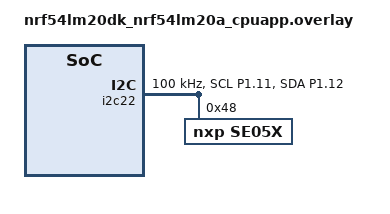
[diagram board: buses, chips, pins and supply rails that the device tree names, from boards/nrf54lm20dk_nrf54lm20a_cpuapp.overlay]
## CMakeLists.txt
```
cmake_minimum_required(VERSION 3.20.0)

find_package(Zephyr REQUIRED HINTS $ENV{ZEPHYR_BASE})
project(nrf54lm20_se05x)

set(NXP_DIR "${CMAKE_CURRENT_LIST_DIR}/nxp_se05x/nxp/plug-and-trust")

add_library(se05x_bus STATIC
    se05x_bus/src/se05x_bus.c
    se05x_bus/src/se05x_bus_zephyr_i2c.c
)
add_dependencies(se05x_bus zephyr_generated_headers)

target_include_directories(se05x_bus PUBLIC
    se05x_bus/include
)

target_link_libraries(se05x_bus PUBLIC zephyr_interface)

add_library(nxp_se05x STATIC
    "${NXP_DIR}/sss/ex/src/ex_sss_boot.c"
    "${NXP_DIR}/sss/ex/src/ex_sss_boot_connectstring.c"
    "${NXP_DIR}/sss/ex/src/ex_sss_se05x.c"
    "${NXP_DIR}/sss/ex/src/ex_sss_se05x_auth.c"
    "${NXP_DIR}/sss/src/fsl_sss_apis.c"
    "${NXP_DIR}/sss/src/fsl_sss_util_asn1_der.c"
    "${NXP_DIR}/sss/src/fsl_sss_util_rsa_sign_utils.c"
    "${NXP_DIR}/sss/src/keystore/keystore_cmn.c"
    "${NXP_DIR}/sss/src/keystore/keystore_pc.c"
    "${NXP_DIR}/sss/src/se05x/fsl_sss_se05x_apis.c"
    "${NXP_DIR}/sss/src/se05x/fsl_sss_se05x_eckey.c"
    "${NXP_DIR}/sss/src/se05x/fsl_sss_se05x_mw.c"
    "${NXP_DIR}/sss/src/se05x/fsl_sss_se05x_policy.c"
    "${NXP_DIR}/sss/src/se05x/fsl_sss_se05x_scp03.c"
    "${NXP_DIR}/hostlib/hostLib/libCommon/infra/global_platf.c"
    "${NXP_DIR}/hostlib/hostLib/libCommon/infra/sm_apdu.c"
    "${NXP_DIR}/hostlib/hostLib/libCommon/infra/sm_connect.c"
    "${NXP_DIR}/hostlib/hostLib/libCommon/infra/sm_errors.c"
    "${NXP_DIR}/hostlib/hostLib/libCommon/infra/sm_printf.c"
    "${NXP_DIR}/hostlib/hostLib/libCommon/log/nxLog.c"
    "${NXP_DIR}/hostlib/hostLib/libCommon/nxScp/nxScp03_Com.c"
    "${NXP_DIR}/hostlib/hostLib/libCommon/smCom/smCom.c"
    "${NXP_DIR}/hostlib/hostLib/libCommon/smCom/smComT1oI2C.c"
    "${NXP_DIR}/hostlib/hostLib/libCommon/smCom/T1oI2C/phNxpEse_Api.c"
    "${NXP_DIR}/hostlib/hostLib/libCommon/smCom/T1oI2C/phNxpEseProto7816_3.c"
    "${NXP_DIR}/hostlib/hostLib/libCommon/smCom/T1oI2C/phNxpEsePal_i2c.c"
    "${NXP_DIR}/hostlib/hostLib/se05x/src/se05x_ECC_curves.c"
    "${NXP_DIR}/hostlib/hostLib/se05x/src/se05x_mw.c"
    "${NXP_DIR}/hostlib/hostLib/se05x/src/se05x_tlv.c"
    "${NXP_DIR}/hostlib/hostLib/se05x_03_xx_xx/se05x_APDU.c"
    "${NXP_DIR}/hostlib/hostLib/se05x_03_xx_xx/se05x_perso_api.c"
    nxp_se05x/port/i2c_a7_zephyr_bus.c
    nxp_se05x/port/sm_timer_zephyr.c
    nxp_se05x/port/ax_reset_zephyr.c
    nxp_se05x/port/sss_user_zephyr_crypto.c
    nxp_se05x/port/freertos_zephyr_shim.c
)
add_dependencies(nxp_se05x zephyr_generated_headers)

target_include_directories(nxp_se05x PUBLIC
    nxp_se05x/include
    nxp_se05x/port/include
    "${NXP_DIR}"
    "${NXP_DIR}/sss/inc"
    "${NXP_DIR}/sss/ex/inc"
    "${NXP_DIR}/sss/ex/src"
    "${NXP_DIR}/sss/port/default"
    "${NXP_DIR}/hostlib/hostLib/inc"
    "${NXP_DIR}/hostlib/hostLib/libCommon/infra"
    "${NXP_DIR}/hostlib/hostLib/libCommon/log"
    "${NXP_DIR}/hostlib/hostLib/libCommon/smCom"
    "${NXP_DIR}/hostlib/hostLib/libCommon/smCom/T1oI2C"
    "${NXP_DIR}/hostlib/hostLib/platform/inc"
    "${NXP_DIR}/hostlib/hostLib/se05x_03_xx_xx"
)

target_compile_definitions(nxp_se05x PUBLIC
    SSS_USE_FTR_FILE
    SMCOM_T1oI2C
    T1oI2C
    T1oI2C_UM11225
    T1OI2C_RETRY_ON_I2C_FAILED
    USE_RTOS=1
    AX_EMBEDDED=1
)

target_compile_options(nxp_se05x PRIVATE
    -Wno-unused-parameter
    -Wno-sign-compare
    -Wno-missing-field-initializers
    -Wno-format
    -Wno-incompatible-pointer-types
    -Wno-unused-variable
    -Wno-unused-function
    -Wno-unused-value
)

target_link_libraries(nxp_se05x PUBLIC se05x_bus zephyr_interface)

target_sources(app PRIVATE
    src/main.c
    demo/se05x_demo.c
    demo/se05x_demo_00_uart_safe_api.c
    demo/se05x_demo_01_safe_read_only.c
    demo/se05x_demo_02_identity_random.c
    demo/se05x_demo_03_inventory.c
    demo/se05x_demo_04_business_onboarding.c
    demo/se05x_demo_05_provisioning_check.c
    demo/se05x_demo_06_ecc_sign_verify.c
    demo/se05x_demo_07_certificate_store.c
    demo/se05x_demo_08_tls_client_identity.c
    demo/se05x_demo_09_wallet_curve_check.c
    demo/se05x_demo_10_eth_wallet_sign.c
    demo/se05x_demo_11_eth_testnet_wallet.c
)

target_include_directories(app PRIVATE demo)
target_link_libraries(app PRIVATE nxp_se05x se05x_bus)
```

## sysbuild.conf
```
# Keep this sample as a single-image application; no OTA/MCUboot partitions.
SB_CONFIG_PARTITION_MANAGER=n
```

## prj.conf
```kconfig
# Minimal Zephyr/NCS app services
CONFIG_SERIAL=y
CONFIG_CONSOLE=y
CONFIG_UART_CONSOLE=y
CONFIG_CONSOLE_SUBSYS=y
CONFIG_CONSOLE_GETCHAR=y
CONFIG_LOG=y
CONFIG_LOG_MODE_IMMEDIATE=y
CONFIG_LOG_DEFAULT_LEVEL=3

# Debug-friendly build for source breakpoints during board bring-up.
CONFIG_DEBUG=y
CONFIG_DEBUG_OPTIMIZATIONS=y

# SE05x transport
CONFIG_I2C=y
CONFIG_GPIO=y

# NXP middleware uses malloc for connection, mutex, and transient crypto state.
CONFIG_NEWLIB_LIBC=y
CONFIG_NEWLIB_LIBC_NANO=y
CONFIG_HEAP_MEM_POOL_SIZE=65536
CONFIG_MAIN_STACK_SIZE=24576
CONFIG_SYSTEM_WORKQUEUE_STACK_SIZE=4096

# PSA crypto backend required by HOSTCRYPTO_USER for SCP03.
CONFIG_NRF_SECURITY=y
CONFIG_MBEDTLS_PSA_CRYPTO_C=y
CONFIG_MBEDTLS_ENABLE_HEAP=y
CONFIG_MBEDTLS_HEAP_SIZE=65536
CONFIG_PSA_WANT_KEY_TYPE_AES=y
CONFIG_PSA_WANT_ALG_CBC_NO_PADDING=y
CONFIG_PSA_WANT_ALG_ECB_NO_PADDING=y
CONFIG_PSA_WANT_ALG_CTR=y
CONFIG_PSA_WANT_ALG_CMAC=y
CONFIG_PSA_WANT_GENERATE_RANDOM=y
CONFIG_PSA_WANT_ALG_CTR_DRBG=y
CONFIG_PSA_WANT_ALG_SHA_1=y
CONFIG_PSA_WANT_ALG_SHA_224=y
CONFIG_PSA_WANT_ALG_SHA_256=y
CONFIG_PSA_WANT_ALG_SHA_384=y
CONFIG_PSA_WANT_ALG_SHA_512=y

# Enable locally during board bring-up if you want Zephyr runtime assertions.
CONFIG_ASSERT=n
```

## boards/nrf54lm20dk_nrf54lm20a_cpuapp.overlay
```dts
#include <zephyr/dt-bindings/i2c/i2c.h>

/ {
	aliases {
		se05x = &se05x;
	};
};

&pinctrl {
	i2c22_default: i2c22_default {
		group1 {
			psels = <NRF_PSEL(TWIM_SCL, 1, 11)>,
				<NRF_PSEL(TWIM_SDA, 1, 12)>;
			bias-pull-up;
		};
	};

	i2c22_sleep: i2c22_sleep {
		group1 {
			psels = <NRF_PSEL(TWIM_SCL, 1, 11)>,
				<NRF_PSEL(TWIM_SDA, 1, 12)>;
			low-power-enable;
		};
	};
};

&i2c22 {
	status = "okay";
	clock-frequency = <I2C_BITRATE_STANDARD>;
	zephyr,concat-buf-size = <512>;
	pinctrl-0 = <&i2c22_default>;
	pinctrl-1 = <&i2c22_sleep>;
	pinctrl-names = "default", "sleep";

	se05x: se05x@48 {
		compatible = "nxp,se05x";
		status = "okay";
		reg = <0x48>;
	};
};
```

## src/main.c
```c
#include <errno.h>
#include <string.h>

#include <zephyr/kernel.h>
#include <zephyr/logging/log.h>

#include "ex_sss_boot.h"
#include "se05x_bus.h"
#include "se05x_bus_zephyr.h"
#include "se05x_demo.h"

LOG_MODULE_REGISTER(nrf54lm20_se05x, LOG_LEVEL_INF);

/*
 * Demo 选择入口。
 *
 * main.c 只负责初始化 transport、打开 SE05x Platform SCP03 session，
 * 然后根据 APP_SELECTED_DEMO 分发到 demo/ 目录下的具体示例。
 *
 * 后续切换示例时，只改下面这一行即可，不需要改 main() 主流程。
 *
 *   SE05X_DEMO_UART_SAFE_API       - 00：UART 交互式安全 API 菜单。
 *   SE05X_DEMO_SAFE_READ_ONLY      - 01：完整只读冒烟测试。
 *   SE05X_DEMO_IDENTITY_RANDOM     - 02：读取身份信息和随机数。
 *   SE05X_DEMO_INVENTORY           - 03：查看能力、保留对象和存储空间。
 *   SE05X_DEMO_BUSINESS_ONBOARDING - 04：设备注册/产测上报前置流程。
 *   SE05X_DEMO_PROVISIONING_CHECK  - 05：应用 key/证书写入前预检流程。
 *   SE05X_DEMO_ECC_SIGN_VERIFY     - 06：写入 demo ECC 私钥并做签名验签。
 *   SE05X_DEMO_CERTIFICATE_STORE   - 07：写入 demo 设备证书并回读校验。
 *   SE05X_DEMO_TLS_CLIENT_IDENTITY - 08：用 06/07 对象模拟 TLS 客户端身份。
 *   SE05X_DEMO_WALLET_CURVE_CHECK  - 09：验证 secp256k1 曲线和签名能力。
 *   SE05X_DEMO_ETH_WALLET_SIGN     - 10：ETH legacy transfer 签名流程研究。
 *   SE05X_DEMO_ETH_TESTNET_WALLET  - 11：ETH Sepolia 持久化钱包签名流程。
 */
#define APP_SELECTED_DEMO SE05X_DEMO_ETH_TESTNET_WALLET

static ex_sss_boot_ctx_t s_boot_ctx;
static se05x_bus_t s_i2c_bus;

static int app_register_transport(void)
{
	/*
	 * 从 devicetree alias `se05x` 创建 Zephyr I2C backend。
	 * 当前 overlay 将 SE05x 绑定到 i2c22，地址 0x48。
	 */
	int err = se05x_zephyr_i2c_bus_create(&s_i2c_bus, NULL);

	if (err != 0) {
		LOG_ERR("se05x_zephyr_i2c_bus_create failed: %d", err);
		return err;
	}

	/*
	 * NXP T=1 over I2C porting 层通过默认 bus 访问 SE05x。
	 * 必须在 ex_sss_boot_open() 之前完成注册。
	 */
	err = se05x_bus_register_default(&s_i2c_bus.ops);
	if (err != 0) {
		LOG_ERR("se05x_bus_register_default failed: %d", err);
		return err;
	}

	return 0;
}

static int app_open_se_session(void)
{
	sss_status_t status;

	/*
	 * 打开 SE05x session。
	 * 当前 fsl_sss_ftr.h 选择 Platform SCP03，所以这里会同时完成
	 * I2C/T=1 连接、ATR 读取和 SCP03 安全通道认证。
	 */
	memset(&s_boot_ctx, 0, sizeof(s_boot_ctx));
	status = ex_sss_boot_open(&s_boot_ctx, NULL);
	if (status != kStatus_SSS_Success) {
		LOG_ERR("ex_sss_boot_open failed: status=0x%04X", (unsigned int)status);
		LOG_ERR("Platform SCP03 open failed; abort all SE05x demos");
		return -EIO;
	}

	/*
	 * 初始化 SSS key store/object 上下文。
	 * 只读 demo 对它依赖不强，但 key 生成、签名、证书类 demo 需要它。
	 */
	status = ex_sss_key_store_and_object_init(&s_boot_ctx);
	if (status != kStatus_SSS_Success) {
		LOG_WRN("ex_sss_key_store_and_object_init skipped: status=0x%04X",
			(unsigned int)status);
	}

	return 0;
}

int main(void)
{
	const se05x_demo_t *demo = se05x_demo_find(APP_SELECTED_DEMO);
	sss_status_t status;
	int err;

	LOG_INF("nRF54LM20 + NXP SE05x demo runner started");
	LOG_INF("Compiled SCP03 profile: %s", se05x_demo_active_scp03_profile());
	se05x_demo_log_catalog();
	se05x_demo_log_selection(demo);

	if (demo == NULL || demo->run == NULL) {
		return -EINVAL;
	}

	err = app_register_transport();
	if (err != 0) {
		return err;
	}

	err = app_open_se_session();
	if (err != 0) {
		return err;
	}

	status = demo->run(&s_boot_ctx);
	if (status == kStatus_SSS_Success) {
		LOG_INF("Demo %s overall result: OK", demo->name);
	} else {
		LOG_ERR("Demo %s overall result: FAILED", demo->name);
	}

	/*
	 * demo 运行完成后关闭 SE05x session。
	 * 主线程随后 sleep，方便串口日志停留和 debugger 继续查看现场。
	 */
	ex_sss_session_close(&s_boot_ctx);

	while (1) {
		k_sleep(K_SECONDS(10));
	}

	return 0;
}
```
